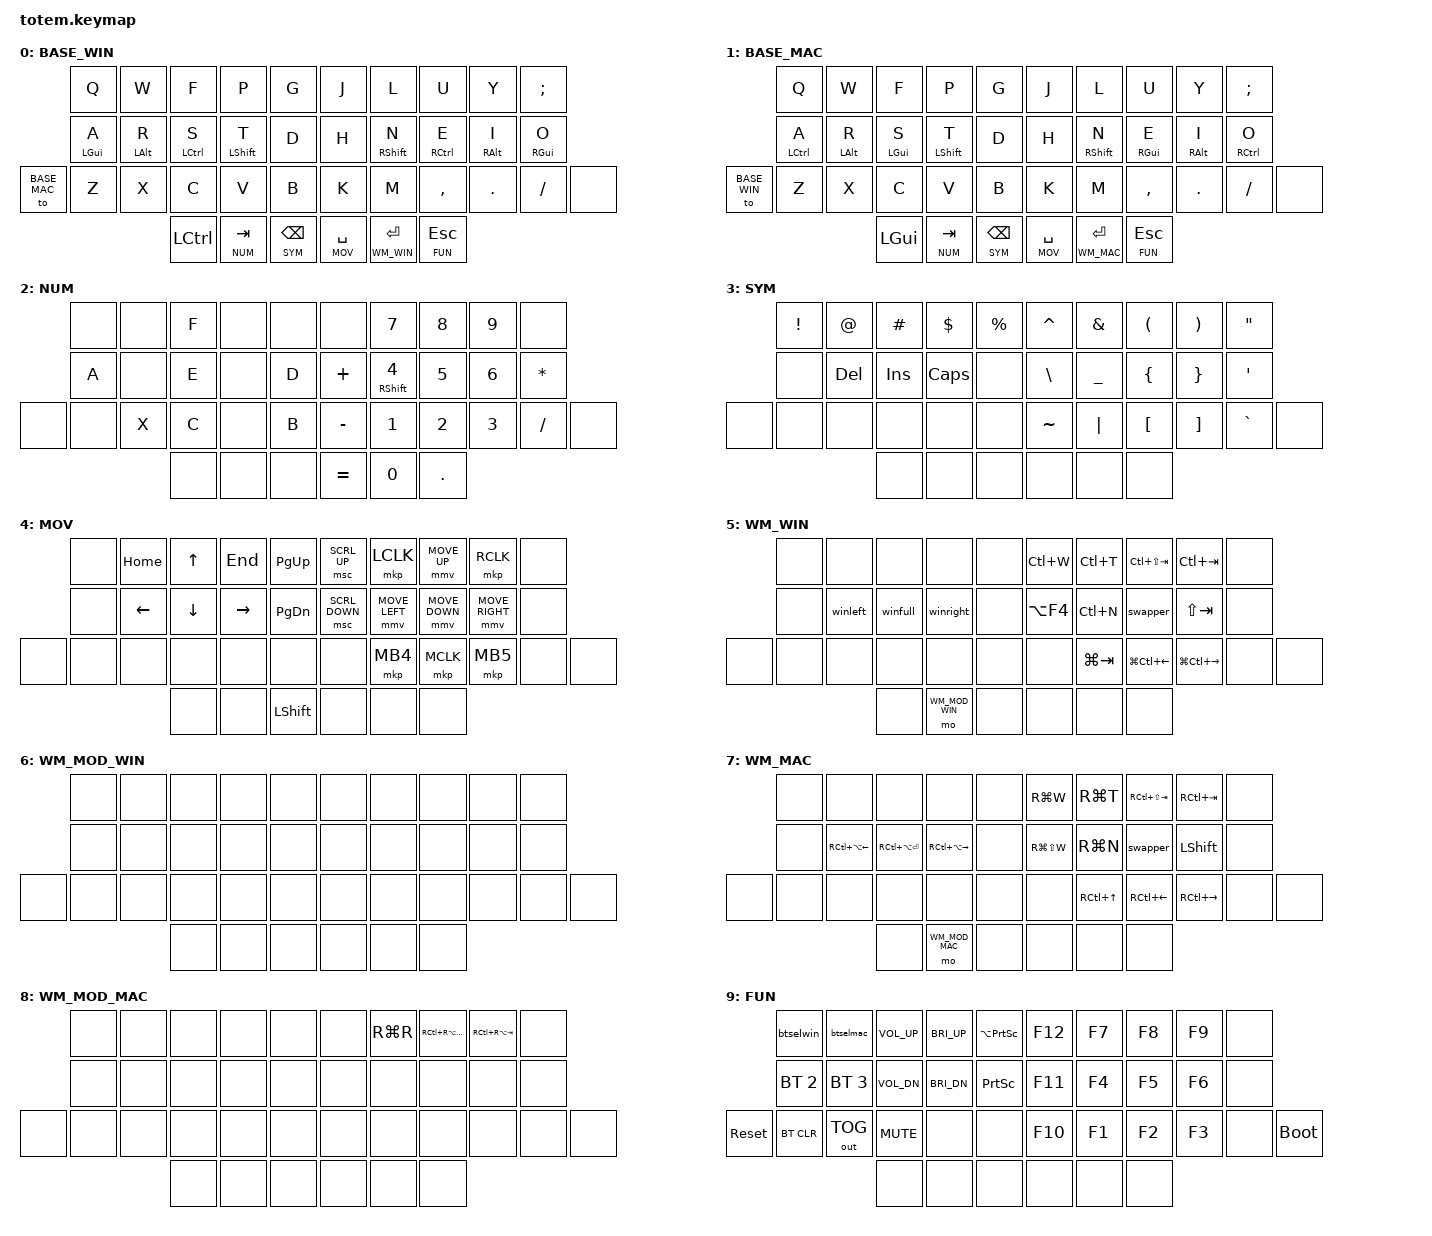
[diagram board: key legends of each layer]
//
//                                                        ▀▀▀▀▀     ▀▀▀▀▀          ▀▀█▀▀
//                                                        ▄▀▀▀▄  ▄  ▄▀▀▀▄  ▄  ▄▀▀▀▄  █  ▄▀▀▀▄
//                                                        █   █  █  █   █  █  █   █  █  █   █
//                                                         ▀▀▀   █   ▀▀▀   █   ▀▀▀   ▀   ▀▀▀
//                                                               █      ▄▄▄█▄▄▄    █   █  
//                                                               ▀      █  █  █     █▄█
//                                                             ▀▀▀▀▀    █  █  █      ▀
//                                                                      ▀  ▀  ▀
//
// ▄▄▄▄▄▄▄▄▄▄▄▄▄▄▄▄▄▄▄▄▄▄▄▄▄▄▄▄▄▄▄▄▄▄▄▄▄▄▄▄▄▄▄▄▄▄▄▄▄▄▄▄▄▄▄▄▄▄▄▄▄▄▄▄▄▄▄▄▄▄▄▄▄▄▄▄▄▄▄▄▄▄▄▄▄▄▄▄▄▄▄▄▄▄▄▄▄▄▄▄▄▄▄▄▄▄▄▄▄▄▄▄▄▄▄▄▄▄▄▄▄▄▄▄▄▄▄▄▄▄▄▄▄▄▄▄▄▄▄▄▄▄▄▄▄▄▄▄▄
       

#define ZMK_POINTING_DEFAULT_MOVE_VAL 900
#define ZMK_POINTING_DEFAULT_SCRL_VAL 20

#include <behaviors.dtsi>
#include <dt-bindings/zmk/keys.h>
#include <dt-bindings/zmk/bt.h>
#include <dt-bindings/zmk/outputs.h>
#include <dt-bindings/zmk/pointing.h>

#define BASE_WIN    0
#define BASE_MAC    1
#define NUM         2
#define SYM         3
#define MOV         4
#define WM_WIN      5
#define WM_MOD_WIN  6
#define WM_MAC      7
#define WM_MOD_MAC  8
#define FUN         9

&lt {
  tapping-term-ms = <250>;
  quick-tap-ms = <200>;
};

&mt {
  tapping-term-ms = <250>;
  quick-tap-ms = <200>;
  global-quick-tap;
  flavor = "tap-preferred";
};

/ {
    combos {
        compatible = "zmk,combos";

        CapsWord {
            bindings = <&caps_word>;
            key-positions = <13 16>;
        };
    };

    behaviors {
        swapper: swapper {
            compatible = "zmk,behavior-tri-state";
            #binding-cells = <0>;
            bindings = <&kt LALT>, <&kp TAB>, <&kt LALT>;
            ignored-key-positions = <18>;
        };
    };

    macros {
        winleft: winleft {
            compatible = "zmk,behavior-macro";
            #binding-cells = <0>;
            bindings
                = <&macro_press &kp LGUI>
                , <&macro_tap &kp LEFT>
                , <&macro_tap &kp LEFT>
                , <&macro_release &kp LGUI>
                ;
        };

        winright: winright {
            compatible = "zmk,behavior-macro";
            #binding-cells = <0>;
            bindings
                = <&macro_press &kp LGUI>
                , <&macro_tap &kp RIGHT>
                , <&macro_tap &kp RIGHT>
                , <&macro_release &kp LGUI>
                ;
        };

        winfull: winfull {
            compatible = "zmk,behavior-macro";
            #binding-cells = <0>;
            bindings
                = <&macro_press &kp LGUI>
                , <&macro_tap &kp UP>
                , <&macro_tap &kp UP>
                , <&macro_release &kp LGUI>
                ;
        };

        btselwin: btselwin {
            compatible = "zmk,behavior-macro";
            #binding-cells = <0>;
            bindings
                = <&bt BT_SEL 0>
                , <&to BASE_WIN>
                ;
        };

        btselmac: btselmac {
            compatible = "zmk,behavior-macro";
            #binding-cells = <0>;
            bindings
                = <&bt BT_SEL 1>
                , <&to BASE_MAC>
                ;
        };
    };

        keymap {
                compatible = "zmk,keymap";
// ▄▄▄▄▄▄▄▄▄▄▄▄▄▄▄▄▄▄▄▄▄▄▄▄▄▄▄▄▄▄▄▄▄▄▄▄▄▄▄▄▄▄▄▄▄▄▄▄▄▄▄▄▄▄▄▄▄▄▄▄▄▄▄▄▄▄▄▄▄▄▄▄▄▄▄▄▄▄▄▄▄▄▄▄▄▄▄▄▄▄▄▄▄▄▄▄▄▄▄▄▄▄▄▄▄▄▄▄▄▄▄▄▄▄▄▄▄▄▄▄▄▄▄▄▄▄▄▄▄▄▄▄▄▄▄▄▄▄▄▄▄▄▄▄▄▄▄▄▄

                base_win_layer {
// ┏━━━━━━━━━━━━━━━━━━━━━━━━━━━━━━━━━━━━━━━┓
label= "BASE_WIN"                          ;
// ┗━━━━━━━━━━━━━━━━━━━━━━━━━━━━━━━━━━━━━━━┛
//             ┏━━━━━━━━━━━┳━━━━━━━━━━━┳━━━━━━━━━━━┳━━━━━━━━━━━┳━━━━━━━━━━━┓   ┏━━━━━━━━━━━┳━━━━━━━━━━━┳━━━━━━━━━━━┳━━━━━━━━━━━┳━━━━━━━━━━━┓
//             ┃     Q     ┃     W     ┃     F     ┃     P     ┃     G     ┃   ┃     J     ┃     L     ┃     U     ┃     Y     ┃     ;     ┃
//             ┣━━━━━━━━━━━╋━━━━━━━━━━━╋━━━━━━━━━━━╋━━━━━━━━━━━╋━━━━━━━━━━━┫   ┣━━━━━━━━━━━╋━━━━━━━━━━━╋━━━━━━━━━━━╋━━━━━━━━━━━╋━━━━━━━━━━━┫
//             ┃  A/LGUI   ┃  R/LALT   ┃  S/LCTRL  ┃ T/LSHIFT  ┃     D     ┃   ┃     H     ┃ N/RSHIFT  ┃  E/RCTRL  ┃  I/RALT   ┃  O/RGUI   ┃
// ┏━━━━━━━━━━━╋━━━━━━━━━━━╋━━━━━━━━━━━╋━━━━━━━━━━━╋━━━━━━━━━━━╋━━━━━━━━━━━┫   ┣━━━━━━━━━━━╋━━━━━━━━━━━╋━━━━━━━━━━━╋━━━━━━━━━━━╋━━━━━━━━━━━╋━━━━━━━━━━━┓
// ┃ BASE_MAC  ┃     Z     ┃     X     ┃     C     ┃     V     ┃     B     ┃   ┃     K     ┃     M     ┃     ,     ┃     .     ┃     /     ┃           ┃
// ┗━━━━━━━━━━━┻━━━━━━━━━━━┻━━━━━━━━━━━╋━━━━━━━━━━━╋━━━━━━━━━━━╋━━━━━━━━━━━┫   ┣━━━━━━━━━━━╋━━━━━━━━━━━╋━━━━━━━━━━━╋━━━━━━━━━━━┻━━━━━━━━━━━┻━━━━━━━━━━━┛
//                                     ┃   LCTRL   ┃  TAB/NUM  ┃ BSPC/SYM  ┃   ┃  SPC/MOV  ┃ RET/WM_WIN┃  ESC/FUN  ┃
//                                     ┗━━━━━━━━━━━┻━━━━━━━━━━━┻━━━━━━━━━━━┛   ┗━━━━━━━━━━━┻━━━━━━━━━━━┻━━━━━━━━━━━┛
 bindings = <
// ╷            ╷           ╷           ╷           ╷           ╷           ╷   ╷             ╷              ╷           ╷           ╷           ╷           ╷

                 &kp Q       &kp W       &kp F       &kp P       &kp G           &kp J         &kp L          &kp U       &kp Y       &kp SEMI
                 &mt LGUI A  &mt LALT R  &mt LCTRL S &mt LSHFT T &kp D           &kp H         &mt RSHFT N    &mt RCTRL E &mt RALT I  &mt RGUI O
    &to BASE_MAC &kp Z       &kp X       &kp C       &kp V       &kp B           &kp K         &kp M          &kp COMMA   &kp DOT     &kp FSLH    &none
                                         &kp LCTRL   &lt NUM TAB &lt SYM BSPC    &lt MOV SPACE &lt WM_WIN RET &lt FUN ESC
                        >;
                };

// ▄▄▄▄▄▄▄▄▄▄▄▄▄▄▄▄▄▄▄▄▄▄▄▄▄▄▄▄▄▄▄▄▄▄▄▄▄▄▄▄▄▄▄▄▄▄▄▄▄▄▄▄▄▄▄▄▄▄▄▄▄▄▄▄▄▄▄▄▄▄▄▄▄▄▄▄▄▄▄▄▄▄▄▄▄▄▄▄▄▄▄▄▄▄▄▄▄▄▄▄▄▄▄▄▄▄▄▄▄▄▄▄▄▄▄▄▄▄▄▄▄▄▄▄▄▄▄▄▄▄▄▄▄▄▄▄▄▄▄▄▄▄▄▄▄▄▄▄▄

                base_mac_layer {
// ┏━━━━━━━━━━━━━━━━━━━━━━━━━━━━━━━━━━━━━━━┓
label= "BASE_MAC"                          ;
// ┗━━━━━━━━━━━━━━━━━━━━━━━━━━━━━━━━━━━━━━━┛
//             ┏━━━━━━━━━━━┳━━━━━━━━━━━┳━━━━━━━━━━━┳━━━━━━━━━━━┳━━━━━━━━━━━┓   ┏━━━━━━━━━━━┳━━━━━━━━━━━┳━━━━━━━━━━━┳━━━━━━━━━━━┳━━━━━━━━━━━┓
//             ┃     Q     ┃     W     ┃     F     ┃     P     ┃     G     ┃   ┃     J     ┃     L     ┃     U     ┃     Y     ┃     ;     ┃
//             ┣━━━━━━━━━━━╋━━━━━━━━━━━╋━━━━━━━━━━━╋━━━━━━━━━━━╋━━━━━━━━━━━┫   ┣━━━━━━━━━━━╋━━━━━━━━━━━╋━━━━━━━━━━━╋━━━━━━━━━━━╋━━━━━━━━━━━┫
//             ┃  A/LCTRL  ┃  R/LALT   ┃   S/LGUI  ┃ T/LSHIFT  ┃     D     ┃   ┃     H     ┃ N/RSHIFT  ┃   E/RGUI  ┃  I/RALT   ┃  O/RCTRL  ┃
// ┏━━━━━━━━━━━╋━━━━━━━━━━━╋━━━━━━━━━━━╋━━━━━━━━━━━╋━━━━━━━━━━━╋━━━━━━━━━━━┫   ┣━━━━━━━━━━━╋━━━━━━━━━━━╋━━━━━━━━━━━╋━━━━━━━━━━━╋━━━━━━━━━━━╋━━━━━━━━━━━┓
// ┃ BASE_WIN  ┃     Z     ┃     X     ┃     C     ┃     V     ┃     B     ┃   ┃     K     ┃     M     ┃     ,     ┃     .     ┃     /     ┃           ┃
// ┗━━━━━━━━━━━┻━━━━━━━━━━━┻━━━━━━━━━━━╋━━━━━━━━━━━╋━━━━━━━━━━━╋━━━━━━━━━━━┫   ┣━━━━━━━━━━━╋━━━━━━━━━━━╋━━━━━━━━━━━╋━━━━━━━━━━━┻━━━━━━━━━━━┻━━━━━━━━━━━┛
//                                     ┃   LGUI    ┃  TAB/NUM  ┃ BSPC/SYM  ┃   ┃  SPC/MOV  ┃ RET/WM_MAC┃  ESC/FUN  ┃
//                                     ┗━━━━━━━━━━━┻━━━━━━━━━━━┻━━━━━━━━━━━┛   ┗━━━━━━━━━━━┻━━━━━━━━━━━┻━━━━━━━━━━━┛
 bindings = <
// ╷            ╷           ╷           ╷           ╷           ╷           ╷   ╷             ╷              ╷           ╷           ╷           ╷           ╷

                 &kp Q       &kp W       &kp F       &kp P       &kp G           &kp J         &kp L          &kp U       &kp Y       &kp SEMI
                 &mt LCTRL A &mt LALT R  &mt LGUI S  &mt LSHFT T &kp D           &kp H         &mt RSHFT N    &mt RGUI E  &mt RALT I  &mt RCTRL O
    &to BASE_WIN &kp Z       &kp X       &kp C       &kp V       &kp B           &kp K         &kp M          &kp COMMA   &kp DOT     &kp FSLH    &none
                                         &kp LGUI    &lt NUM TAB &lt SYM BSPC    &lt MOV SPACE &lt WM_MAC RET &lt FUN ESC
                        >;
                };

// ▄▄▄▄▄▄▄▄▄▄▄▄▄▄▄▄▄▄▄▄▄▄▄▄▄▄▄▄▄▄▄▄▄▄▄▄▄▄▄▄▄▄▄▄▄▄▄▄▄▄▄▄▄▄▄▄▄▄▄▄▄▄▄▄▄▄▄▄▄▄▄▄▄▄▄▄▄▄▄▄▄▄▄▄▄▄▄▄▄▄▄▄▄▄▄▄▄▄▄▄▄▄▄▄▄▄▄▄▄▄▄▄▄▄▄▄▄▄▄▄▄▄▄▄▄▄▄▄▄▄▄▄▄▄▄▄▄▄▄▄▄▄▄▄▄▄▄▄▄


                number_layer {
// ┏━━━━━━━━━━━━━━━━━━━━━━━━━━━━━━━━━━━━━━━┓
label= "NUM"                               ;
// ┗━━━━━━━━━━━━━━━━━━━━━━━━━━━━━━━━━━━━━━━┛
//             ┏━━━━━━━━━━━┳━━━━━━━━━━━┳━━━━━━━━━━━┳━━━━━━━━━━━┳━━━━━━━━━━━┓   ┏━━━━━━━━━━━┳━━━━━━━━━━━┳━━━━━━━━━━━┳━━━━━━━━━━━┳━━━━━━━━━━━┓
//             ┃           ┃           ┃     F     ┃           ┃           ┃   ┃           ┃     7     ┃     8     ┃     9     ┃           ┃
//             ┣━━━━━━━━━━━╋━━━━━━━━━━━╋━━━━━━━━━━━╋━━━━━━━━━━━╋━━━━━━━━━━━┫   ┣━━━━━━━━━━━╋━━━━━━━━━━━╋━━━━━━━━━━━╋━━━━━━━━━━━╋━━━━━━━━━━━┫
//             ┃     A     ┃           ┃     E     ┃           ┃     D     ┃   ┃     +     ┃ 4/RSHIFT  ┃     5     ┃     6     ┃     *     ┃
// ┏━━━━━━━━━━━╋━━━━━━━━━━━╋━━━━━━━━━━━╋━━━━━━━━━━━╋━━━━━━━━━━━╋━━━━━━━━━━━┫   ┣━━━━━━━━━━━╋━━━━━━━━━━━╋━━━━━━━━━━━╋━━━━━━━━━━━╋━━━━━━━━━━━╋━━━━━━━━━━━┓
// ┃           ┃           ┃     X     ┃     C     ┃           ┃     B     ┃   ┃     -     ┃     1     ┃     2     ┃     3     ┃     /     ┃           ┃
// ┗━━━━━━━━━━━┻━━━━━━━━━━━┻━━━━━━━━━━━╋━━━━━━━━━━━╋━━━━━━━━━━━╋━━━━━━━━━━━┫   ┣━━━━━━━━━━━╋━━━━━━━━━━━╋━━━━━━━━━━━╋━━━━━━━━━━━┻━━━━━━━━━━━┻━━━━━━━━━━━┛
//                                     ┃           ┃           ┃           ┃   ┃     =     ┃     0     ┃     .     ┃
//                                     ┗━━━━━━━━━━━┻━━━━━━━━━━━┻━━━━━━━━━━━┛   ┗━━━━━━━━━━━┻━━━━━━━━━━━┻━━━━━━━━━━━┛
 bindings = <
// ╷           ╷           ╷           ╷           ╷           ╷           ╷   ╷           ╷            ╷           ╷           ╷           ╷           ╷

                &none       &none       &kp F       &none       &none           &none       &kp N7       &kp N8      &kp N9      &none
                &kp A       &none       &kp E       &none       &kp D           &kp PLUS    &mt RSHFT N4 &kp N5      &kp N6      &kp ASTRK
    &none       &none       &kp X       &kp C       &none       &kp B           &kp MINUS   &kp N1       &kp N2      &kp N3      &kp FSLH    &none 
                                        &none       &none       &none           &kp EQUAL   &kp N0       &kp DOT
                        >;
                };

// ▄▄▄▄▄▄▄▄▄▄▄▄▄▄▄▄▄▄▄▄▄▄▄▄▄▄▄▄▄▄▄▄▄▄▄▄▄▄▄▄▄▄▄▄▄▄▄▄▄▄▄▄▄▄▄▄▄▄▄▄▄▄▄▄▄▄▄▄▄▄▄▄▄▄▄▄▄▄▄▄▄▄▄▄▄▄▄▄▄▄▄▄▄▄▄▄▄▄▄▄▄▄▄▄▄▄▄▄▄▄▄▄▄▄▄▄▄▄▄▄▄▄▄▄▄▄▄▄▄▄▄▄▄▄▄▄▄▄▄▄▄▄▄▄▄▄▄▄▄


                symbol_layer {
// ┏━━━━━━━━━━━━━━━━━━━━━━━━━━━━━━━━━━━━━━━┓
label= "SYM"                               ;
// ┗━━━━━━━━━━━━━━━━━━━━━━━━━━━━━━━━━━━━━━━┛
//             ┏━━━━━━━━━━━┳━━━━━━━━━━━┳━━━━━━━━━━━┳━━━━━━━━━━━┳━━━━━━━━━━━┓   ┏━━━━━━━━━━━┳━━━━━━━━━━━┳━━━━━━━━━━━┳━━━━━━━━━━━┳━━━━━━━━━━━┓
//             ┃     !     ┃     @     ┃     #     ┃     $     ┃     %     ┃   ┃     ^     ┃     &     ┃     (     ┃     )     ┃     "     ┃
//             ┣━━━━━━━━━━━╋━━━━━━━━━━━╋━━━━━━━━━━━╋━━━━━━━━━━━╋━━━━━━━━━━━┫   ┣━━━━━━━━━━━╋━━━━━━━━━━━╋━━━━━━━━━━━╋━━━━━━━━━━━╋━━━━━━━━━━━┫
//             ┃           ┃    DEL    ┃    INS    ┃ CAPS LOCK ┃           ┃   ┃     \     ┃     _     ┃     {     ┃     }     ┃     '     ┃
// ┏━━━━━━━━━━━╋━━━━━━━━━━━╋━━━━━━━━━━━╋━━━━━━━━━━━╋━━━━━━━━━━━╋━━━━━━━━━━━┫   ┣━━━━━━━━━━━╋━━━━━━━━━━━╋━━━━━━━━━━━╋━━━━━━━━━━━╋━━━━━━━━━━━╋━━━━━━━━━━━┓
// ┃           ┃           ┃           ┃           ┃           ┃           ┃   ┃     ~     ┃     |     ┃     [     ┃     ]     ┃     `     ┃           ┃
// ┗━━━━━━━━━━━┻━━━━━━━━━━━┻━━━━━━━━━━━╋━━━━━━━━━━━╋━━━━━━━━━━━╋━━━━━━━━━━━┫   ┣━━━━━━━━━━━╋━━━━━━━━━━━╋━━━━━━━━━━━╋━━━━━━━━━━━┻━━━━━━━━━━━┻━━━━━━━━━━━┛
//                                     ┃           ┃           ┃           ┃   ┃           ┃           ┃           ┃
//                                     ┗━━━━━━━━━━━┻━━━━━━━━━━━┻━━━━━━━━━━━┛   ┗━━━━━━━━━━━┻━━━━━━━━━━━┻━━━━━━━━━━━┛
 bindings = <
// ╷           ╷           ╷           ╷           ╷           ╷           ╷   ╷           ╷           ╷           ╷           ╷           ╷           ╷

                &kp EXCL    &kp AT      &kp HASH    &kp DLLR    &kp PRCNT       &kp CARET   &kp AMPS    &kp LPAR    &kp RPAR    &kp DQT       
                &none       &kp DEL     &kp INS     &kp CAPS    &none           &kp BSLH    &kp UNDER   &kp LBRC    &kp RBRC    &kp APOS 
    &none       &none       &none       &none       &none       &none           &kp TILDE   &kp PIPE    &kp LBKT    &kp RBKT    &kp GRAVE   &none          
                                        &none       &none       &none           &none       &none       &none
                        >;
                };

// ▄▄▄▄▄▄▄▄▄▄▄▄▄▄▄▄▄▄▄▄▄▄▄▄▄▄▄▄▄▄▄▄▄▄▄▄▄▄▄▄▄▄▄▄▄▄▄▄▄▄▄▄▄▄▄▄▄▄▄▄▄▄▄▄▄▄▄▄▄▄▄▄▄▄▄▄▄▄▄▄▄▄▄▄▄▄▄▄▄▄▄▄▄▄▄▄▄▄▄▄▄▄▄▄▄▄▄▄▄▄▄▄▄▄▄▄▄▄▄▄▄▄▄▄▄▄▄▄▄▄▄▄▄▄▄▄▄▄▄▄▄▄▄▄▄▄▄▄▄


                move_layer {
// ┏━━━━━━━━━━━━━━━━━━━━━━━━━━━━━━━━━━━━━━━┓
label= "MOV"                               ;
// ┗━━━━━━━━━━━━━━━━━━━━━━━━━━━━━━━━━━━━━━━┛
//             ┏━━━━━━━━━━━┳━━━━━━━━━━━┳━━━━━━━━━━━┳━━━━━━━━━━━┳━━━━━━━━━━━┓   ┏━━━━━━━━━━━┳━━━━━━━━━━━┳━━━━━━━━━━━┳━━━━━━━━━━━┳━━━━━━━━━━━┓
//             ┃           ┃   HOME    ┃    UP     ┃    END    ┃  P UP     ┃   ┃ SCRL_UP   ┃   LCLK    ┃   MUP     ┃  RCLK     ┃           ┃
//             ┣━━━━━━━━━━━╋━━━━━━━━━━━╋━━━━━━━━━━━╋━━━━━━━━━━━╋━━━━━━━━━━━┫   ┣━━━━━━━━━━━╋━━━━━━━━━━━╋━━━━━━━━━━━╋━━━━━━━━━━━╋━━━━━━━━━━━┫
//             ┃           ┃   LEFT    ┃   DOWN    ┃   RIGHT   ┃  P DOWN   ┃   ┃ SRCL_DOWN ┃   MLEFT   ┃   MDOWN   ┃  MRIGHT   ┃           ┃
// ┏━━━━━━━━━━━╋━━━━━━━━━━━╋━━━━━━━━━━━╋━━━━━━━━━━━╋━━━━━━━━━━━╋━━━━━━━━━━━┫   ┣━━━━━━━━━━━╋━━━━━━━━━━━╋━━━━━━━━━━━╋━━━━━━━━━━━╋━━━━━━━━━━━╋━━━━━━━━━━━┓
// ┃           ┃           ┃           ┃           ┃           ┃           ┃   ┃           ┃   MB4     ┃   MCLK    ┃  MB5      ┃           ┃           ┃
// ┗━━━━━━━━━━━┻━━━━━━━━━━━┻━━━━━━━━━━━╋━━━━━━━━━━━╋━━━━━━━━━━━╋━━━━━━━━━━━┫   ┣━━━━━━━━━━━╋━━━━━━━━━━━╋━━━━━━━━━━━╋━━━━━━━━━━━┻━━━━━━━━━━━┻━━━━━━━━━━━┛
//                                     ┃           ┃           ┃  LSHIFT   ┃   ┃           ┃           ┃           ┃
//                                     ┗━━━━━━━━━━━┻━━━━━━━━━━━┻━━━━━━━━━━━┛   ┗━━━━━━━━━━━┻━━━━━━━━━━━┻━━━━━━━━━━━┛
 bindings = <
// ╷           ╷           ╷           ╷           ╷           ╷           ╷   ╷              ╷              ╷              ╷               ╷           ╷           ╷

                &none       &kp HOME    &kp UP      &kp END     &kp PG_UP       &msc SCRL_UP   &mkp LCLK      &mmv MOVE_UP   &mkp RCLK       &none
                &none       &kp LEFT    &kp DOWN    &kp RIGHT   &kp PG_DN       &msc SCRL_DOWN &mmv MOVE_LEFT &mmv MOVE_DOWN &mmv MOVE_RIGHT &none
    &none       &none       &none       &none       &none       &none           &none          &mkp MB4       &mkp MCLK      &mkp MB5        &none       &none
                                        &none       &none       &kp LSHFT       &none          &none          &none
                        >;
                };
     
// ▄▄▄▄▄▄▄▄▄▄▄▄▄▄▄▄▄▄▄▄▄▄▄▄▄▄▄▄▄▄▄▄▄▄▄▄▄▄▄▄▄▄▄▄▄▄▄▄▄▄▄▄▄▄▄▄▄▄▄▄▄▄▄▄▄▄▄▄▄▄▄▄▄▄▄▄▄▄▄▄▄▄▄▄▄▄▄▄▄▄▄▄▄▄▄▄▄▄▄▄▄▄▄▄▄▄▄▄▄▄▄▄▄▄▄▄▄▄▄▄▄▄▄▄▄▄▄▄▄▄▄▄▄▄▄▄▄▄▄▄▄▄▄▄▄▄▄▄▄


                wm_win_layer {
// ┏━━━━━━━━━━━━━━━━━━━━━━━━━━━━━━━━━━━━━━━┓
label= "WM_WIN"                            ;
// ┗━━━━━━━━━━━━━━━━━━━━━━━━━━━━━━━━━━━━━━━┛
//             ┏━━━━━━━━━━━┳━━━━━━━━━━━┳━━━━━━━━━━━┳━━━━━━━━━━━┳━━━━━━━━━━━┓   ┏━━━━━━━━━━━┳━━━━━━━━━━━┳━━━━━━━━━━━┳━━━━━━━━━━━┳━━━━━━━━━━━┓
//             ┃           ┃           ┃           ┃           ┃           ┃   ┃ EXIT TAB  ┃ NEW TAB   ┃ PREV TAB  ┃ NEXT TAB  ┃           ┃
//             ┣━━━━━━━━━━━╋━━━━━━━━━━━╋━━━━━━━━━━━╋━━━━━━━━━━━╋━━━━━━━━━━━┫   ┣━━━━━━━━━━━╋━━━━━━━━━━━╋━━━━━━━━━━━╋━━━━━━━━━━━╋━━━━━━━━━━━┫
//             ┃           ┃ LEFT SCRN ┃ FULL SCRN ┃ RGHT SCRN ┃           ┃   ┃ EXIT WIN  ┃ NEW WIN   ┃ SWAP WIN  ┃ SWAP WIN  ┃           ┃
// ┏━━━━━━━━━━━╋━━━━━━━━━━━╋━━━━━━━━━━━╋━━━━━━━━━━━╋━━━━━━━━━━━╋━━━━━━━━━━━┫   ┣━━━━━━━━━━━╋━━━━━━━━━━━╋━━━━━━━━━━━╋━━━━━━━━━━━╋━━━━━━━━━━━╋━━━━━━━━━━━┓
// ┃           ┃           ┃           ┃           ┃           ┃           ┃   ┃           ┃ DESK OVW  ┃ PREV DESK ┃ NEXT DESK ┃           ┃           ┃
// ┗━━━━━━━━━━━┻━━━━━━━━━━━┻━━━━━━━━━━━╋━━━━━━━━━━━╋━━━━━━━━━━━╋━━━━━━━━━━━┫   ┣━━━━━━━━━━━╋━━━━━━━━━━━╋━━━━━━━━━━━╋━━━━━━━━━━━┻━━━━━━━━━━━┻━━━━━━━━━━━┛
//                                     ┃           ┃ WM_MOD_WIN┃           ┃   ┃           ┃           ┃           ┃
//                                     ┗━━━━━━━━━━━┻━━━━━━━━━━━┻━━━━━━━━━━━┛   ┗━━━━━━━━━━━┻━━━━━━━━━━━┻━━━━━━━━━━━┛
 bindings = <
// ╷           ╷           ╷           ╷           ╷              ╷           ╷   ╷           ╷           ╷                ╷                 ╷           ╷           ╷

                &none       &none       &none       &none          &none           &kp LC(W)   &kp LC(T)   &kp LC(LS(TAB))  &kp LC(TAB)       &none
                &none       &winleft    &winfull    &winright      &none           &kp LA(F4)  &kp LC(N)   &swapper         &kp LS(TAB)       &none
    &none       &none       &none       &none       &none          &none           &none       &kp LG(TAB) &kp LG(LC(LEFT)) &kp LG(LC(RIGHT)) &none       &none
                                        &none       &mo WM_MOD_WIN &none           &none       &none       &none
                        >;
                };
     
// ▄▄▄▄▄▄▄▄▄▄▄▄▄▄▄▄▄▄▄▄▄▄▄▄▄▄▄▄▄▄▄▄▄▄▄▄▄▄▄▄▄▄▄▄▄▄▄▄▄▄▄▄▄▄▄▄▄▄▄▄▄▄▄▄▄▄▄▄▄▄▄▄▄▄▄▄▄▄▄▄▄▄▄▄▄▄▄▄▄▄▄▄▄▄▄▄▄▄▄▄▄▄▄▄▄▄▄▄▄▄▄▄▄▄▄▄▄▄▄▄▄▄▄▄▄▄▄▄▄▄▄▄▄▄▄▄▄▄▄▄▄▄▄▄▄▄▄▄▄


                wm_mod_win_layer {
// ┏━━━━━━━━━━━━━━━━━━━━━━━━━━━━━━━━━━━━━━━┓
label= "WM_MOD_WIN"                        ;
// ┗━━━━━━━━━━━━━━━━━━━━━━━━━━━━━━━━━━━━━━━┛
//             ┏━━━━━━━━━━━┳━━━━━━━━━━━┳━━━━━━━━━━━┳━━━━━━━━━━━┳━━━━━━━━━━━┓   ┏━━━━━━━━━━━┳━━━━━━━━━━━┳━━━━━━━━━━━┳━━━━━━━━━━━┳━━━━━━━━━━━┓
//             ┃           ┃           ┃           ┃           ┃           ┃   ┃           ┃           ┃           ┃           ┃           ┃
//             ┣━━━━━━━━━━━╋━━━━━━━━━━━╋━━━━━━━━━━━╋━━━━━━━━━━━╋━━━━━━━━━━━┫   ┣━━━━━━━━━━━╋━━━━━━━━━━━╋━━━━━━━━━━━╋━━━━━━━━━━━╋━━━━━━━━━━━┫
//             ┃           ┃           ┃           ┃           ┃           ┃   ┃           ┃           ┃           ┃           ┃           ┃
// ┏━━━━━━━━━━━╋━━━━━━━━━━━╋━━━━━━━━━━━╋━━━━━━━━━━━╋━━━━━━━━━━━╋━━━━━━━━━━━┫   ┣━━━━━━━━━━━╋━━━━━━━━━━━╋━━━━━━━━━━━╋━━━━━━━━━━━╋━━━━━━━━━━━╋━━━━━━━━━━━┓
// ┃           ┃           ┃           ┃           ┃           ┃           ┃   ┃           ┃           ┃           ┃           ┃           ┃           ┃
// ┗━━━━━━━━━━━┻━━━━━━━━━━━┻━━━━━━━━━━━╋━━━━━━━━━━━╋━━━━━━━━━━━╋━━━━━━━━━━━┫   ┣━━━━━━━━━━━╋━━━━━━━━━━━╋━━━━━━━━━━━╋━━━━━━━━━━━┻━━━━━━━━━━━┻━━━━━━━━━━━┛
//                                     ┃           ┃           ┃           ┃   ┃           ┃           ┃           ┃
//                                     ┗━━━━━━━━━━━┻━━━━━━━━━━━┻━━━━━━━━━━━┛   ┗━━━━━━━━━━━┻━━━━━━━━━━━┻━━━━━━━━━━━┛
 bindings = <
// ╷           ╷           ╷           ╷           ╷           ╷           ╷   ╷           ╷           ╷           ╷           ╷           ╷           ╷

                &none       &none       &none       &none       &none           &none       &none       &none       &none       &none
                &none       &none       &none       &none       &none           &none       &none       &none       &none       &none
    &none       &none       &none       &none       &none       &none           &none       &none       &none       &none       &none       &none
                                        &none       &none       &none           &none       &none       &none
                        >;
                };
     
// ▄▄▄▄▄▄▄▄▄▄▄▄▄▄▄▄▄▄▄▄▄▄▄▄▄▄▄▄▄▄▄▄▄▄▄▄▄▄▄▄▄▄▄▄▄▄▄▄▄▄▄▄▄▄▄▄▄▄▄▄▄▄▄▄▄▄▄▄▄▄▄▄▄▄▄▄▄▄▄▄▄▄▄▄▄▄▄▄▄▄▄▄▄▄▄▄▄▄▄▄▄▄▄▄▄▄▄▄▄▄▄▄▄▄▄▄▄▄▄▄▄▄▄▄▄▄▄▄▄▄▄▄▄▄▄▄▄▄▄▄▄▄▄▄▄▄▄▄▄


                wm_mac_layer {
// ┏━━━━━━━━━━━━━━━━━━━━━━━━━━━━━━━━━━━━━━━┓
label= "WM_MAC"                            ;
// ┗━━━━━━━━━━━━━━━━━━━━━━━━━━━━━━━━━━━━━━━┛
//             ┏━━━━━━━━━━━┳━━━━━━━━━━━┳━━━━━━━━━━━┳━━━━━━━━━━━┳━━━━━━━━━━━┓   ┏━━━━━━━━━━━┳━━━━━━━━━━━┳━━━━━━━━━━━┳━━━━━━━━━━━┳━━━━━━━━━━━┓
//             ┃           ┃           ┃           ┃           ┃           ┃   ┃ EXIT TAB  ┃ NEW TAB   ┃ PREV TAB  ┃ NEXT TAB  ┃           ┃
//             ┣━━━━━━━━━━━╋━━━━━━━━━━━╋━━━━━━━━━━━╋━━━━━━━━━━━╋━━━━━━━━━━━┫   ┣━━━━━━━━━━━╋━━━━━━━━━━━╋━━━━━━━━━━━╋━━━━━━━━━━━╋━━━━━━━━━━━┫
//             ┃           ┃ LEFT SCRN ┃ FULL SCRN ┃ RGHT SCRN ┃           ┃   ┃ EXIT WIN  ┃ NEW WIN   ┃ SWAP WIN  ┃ SWAP WIN  ┃           ┃
// ┏━━━━━━━━━━━╋━━━━━━━━━━━╋━━━━━━━━━━━╋━━━━━━━━━━━╋━━━━━━━━━━━╋━━━━━━━━━━━┫   ┣━━━━━━━━━━━╋━━━━━━━━━━━╋━━━━━━━━━━━╋━━━━━━━━━━━╋━━━━━━━━━━━╋━━━━━━━━━━━┓
// ┃           ┃           ┃           ┃           ┃           ┃           ┃   ┃           ┃ DESK OVW  ┃ PREV DESK ┃ NEXT DESK ┃           ┃           ┃
// ┗━━━━━━━━━━━┻━━━━━━━━━━━┻━━━━━━━━━━━╋━━━━━━━━━━━╋━━━━━━━━━━━╋━━━━━━━━━━━┫   ┣━━━━━━━━━━━╋━━━━━━━━━━━╋━━━━━━━━━━━╋━━━━━━━━━━━┻━━━━━━━━━━━┻━━━━━━━━━━━┛
//                                     ┃           ┃ WM_MOD_MAC┃           ┃   ┃           ┃           ┃           ┃
//                                     ┗━━━━━━━━━━━┻━━━━━━━━━━━┻━━━━━━━━━━━┛   ┗━━━━━━━━━━━┻━━━━━━━━━━━┻━━━━━━━━━━━┛
 bindings = <
// ╷           ╷           ╷                ╷               ╷                 ╷           ╷   ╷             ╷            ╷               ╷             ╷           ╷           ╷

                &none       &none            &none           &none             &none           &kp RG(W)     &kp RG(T)    &kp RC(LS(TAB)) &kp RC(TAB)   &none
                &none       &kp RC(LA(LEFT)) &kp RC(LA(RET)) &kp RC(LA(RIGHT)) &none           &kp RG(LS(W)) &kp RG(N)    &swapper        &kp LSHFT     &none
    &none       &none       &none            &none           &none             &none           &none         &kp RC(UP)   &kp RC(LEFT)    &kp RC(RIGHT) &none       &none
                                             &none           &mo WM_MOD_MAC    &none           &none         &none        &none
                        >;
                };
     
// ▄▄▄▄▄▄▄▄▄▄▄▄▄▄▄▄▄▄▄▄▄▄▄▄▄▄▄▄▄▄▄▄▄▄▄▄▄▄▄▄▄▄▄▄▄▄▄▄▄▄▄▄▄▄▄▄▄▄▄▄▄▄▄▄▄▄▄▄▄▄▄▄▄▄▄▄▄▄▄▄▄▄▄▄▄▄▄▄▄▄▄▄▄▄▄▄▄▄▄▄▄▄▄▄▄▄▄▄▄▄▄▄▄▄▄▄▄▄▄▄▄▄▄▄▄▄▄▄▄▄▄▄▄▄▄▄▄▄▄▄▄▄▄▄▄▄▄▄▄


                wm_mod_mac_layer {
// ┏━━━━━━━━━━━━━━━━━━━━━━━━━━━━━━━━━━━━━━━┓
label= "WM_MOD_MAC"                        ;
// ┗━━━━━━━━━━━━━━━━━━━━━━━━━━━━━━━━━━━━━━━┛
//             ┏━━━━━━━━━━━┳━━━━━━━━━━━┳━━━━━━━━━━━┳━━━━━━━━━━━┳━━━━━━━━━━━┓   ┏━━━━━━━━━━━┳━━━━━━━━━━━┳━━━━━━━━━━━┳━━━━━━━━━━━┳━━━━━━━━━━━┓
//             ┃           ┃           ┃           ┃           ┃           ┃   ┃           ┃ NAME TAB  ┃ MV TAB LT ┃ MV TAB RT ┃           ┃
//             ┣━━━━━━━━━━━╋━━━━━━━━━━━╋━━━━━━━━━━━╋━━━━━━━━━━━╋━━━━━━━━━━━┫   ┣━━━━━━━━━━━╋━━━━━━━━━━━╋━━━━━━━━━━━╋━━━━━━━━━━━╋━━━━━━━━━━━┫
//             ┃           ┃           ┃           ┃           ┃           ┃   ┃           ┃           ┃           ┃           ┃           ┃
// ┏━━━━━━━━━━━╋━━━━━━━━━━━╋━━━━━━━━━━━╋━━━━━━━━━━━╋━━━━━━━━━━━╋━━━━━━━━━━━┫   ┣━━━━━━━━━━━╋━━━━━━━━━━━╋━━━━━━━━━━━╋━━━━━━━━━━━╋━━━━━━━━━━━╋━━━━━━━━━━━┓
// ┃           ┃           ┃           ┃           ┃           ┃           ┃   ┃           ┃           ┃           ┃           ┃           ┃           ┃
// ┗━━━━━━━━━━━┻━━━━━━━━━━━┻━━━━━━━━━━━╋━━━━━━━━━━━╋━━━━━━━━━━━╋━━━━━━━━━━━┫   ┣━━━━━━━━━━━╋━━━━━━━━━━━╋━━━━━━━━━━━╋━━━━━━━━━━━┻━━━━━━━━━━━┻━━━━━━━━━━━┛
//                                     ┃           ┃           ┃           ┃   ┃           ┃           ┃           ┃
//                                     ┗━━━━━━━━━━━┻━━━━━━━━━━━┻━━━━━━━━━━━┛   ┗━━━━━━━━━━━┻━━━━━━━━━━━┻━━━━━━━━━━━┛
 bindings = <
// ╷           ╷           ╷           ╷           ╷           ╷           ╷   ╷           ╷           ╷                   ╷               ╷           ╷           ╷

                &none       &none       &none       &none       &none           &none       &kp RG(R)   &kp RC(RA(LS(TAB))) &kp RC(RA(TAB)) &none
                &none       &none       &none       &none       &none           &none       &none       &none               &none           &none
    &none       &none       &none       &none       &none       &none           &none       &none       &none               &none           &none       &none
                                        &none       &none       &none           &none       &none       &none
                        >;
                };
     
// ▄▄▄▄▄▄▄▄▄▄▄▄▄▄▄▄▄▄▄▄▄▄▄▄▄▄▄▄▄▄▄▄▄▄▄▄▄▄▄▄▄▄▄▄▄▄▄▄▄▄▄▄▄▄▄▄▄▄▄▄▄▄▄▄▄▄▄▄▄▄▄▄▄▄▄▄▄▄▄▄▄▄▄▄▄▄▄▄▄▄▄▄▄▄▄▄▄▄▄▄▄▄▄▄▄▄▄▄▄▄▄▄▄▄▄▄▄▄▄▄▄▄▄▄▄▄▄▄▄▄▄▄▄▄▄▄▄▄▄▄▄▄▄▄▄▄▄▄▄


                function_layer {
// ┏━━━━━━━━━━━━━━━━━━━━━━━━━━━━━━━━━━━━━━━┓
label= "FUN"                               ;
// ┗━━━━━━━━━━━━━━━━━━━━━━━━━━━━━━━━━━━━━━━┛
//             ┏━━━━━━━━━━━┳━━━━━━━━━━━┳━━━━━━━━━━━┳━━━━━━━━━━━┳━━━━━━━━━━━┓   ┏━━━━━━━━━━━┳━━━━━━━━━━━┳━━━━━━━━━━━┳━━━━━━━━━━━┳━━━━━━━━━━━┓
//             ┃ BTSELWIN  ┃ BTSELMAC  ┃ VOL UP    ┃ BRI UP    ┃ ALT+PSCRN ┃   ┃    F12    ┃    F7     ┃    F8     ┃    F9     ┃           ┃
//             ┣━━━━━━━━━━━╋━━━━━━━━━━━╋━━━━━━━━━━━╋━━━━━━━━━━━╋━━━━━━━━━━━┫   ┣━━━━━━━━━━━╋━━━━━━━━━━━╋━━━━━━━━━━━╋━━━━━━━━━━━╋━━━━━━━━━━━┫
//             ┃ BT_SEL 2  ┃ BT_SEL 3  ┃ VOL DOWN  ┃ BRI DOWN  ┃ PSCRN     ┃   ┃    F11    ┃    F4     ┃    F5     ┃    F6     ┃           ┃
// ┏━━━━━━━━━━━╋━━━━━━━━━━━╋━━━━━━━━━━━╋━━━━━━━━━━━╋━━━━━━━━━━━╋━━━━━━━━━━━┫   ┣━━━━━━━━━━━╋━━━━━━━━━━━╋━━━━━━━━━━━╋━━━━━━━━━━━╋━━━━━━━━━━━╋━━━━━━━━━━━┓
// ┃   RESET   ┃ BT_CLR    ┃ OUT_TOG   ┃ MUTE      ┃           ┃           ┃   ┃    F10    ┃    F1     ┃    F2     ┃    F3     ┃           ┃ BOOTLOAD  ┃
// ┗━━━━━━━━━━━┻━━━━━━━━━━━┻━━━━━━━━━━━╋━━━━━━━━━━━╋━━━━━━━━━━━╋━━━━━━━━━━━┫   ┣━━━━━━━━━━━╋━━━━━━━━━━━╋━━━━━━━━━━━╋━━━━━━━━━━━┻━━━━━━━━━━━┻━━━━━━━━━━━┛
//                                     ┃           ┃           ┃           ┃   ┃           ┃           ┃           ┃
//                                     ┗━━━━━━━━━━━┻━━━━━━━━━━━┻━━━━━━━━━━━┛   ┗━━━━━━━━━━━┻━━━━━━━━━━━┻━━━━━━━━━━━┛
 bindings = <
// ╷           ╷            ╷            ╷            ╷            ╷             ╷   ╷           ╷           ╷           ╷           ╷           ╷           ╷

                &btselwin    &btselmac    &kp C_VOL_UP &kp C_BRI_UP &kp LA(PSCRN)     &kp F12     &kp F7      &kp F8      &kp F9      &none
                &bt BT_SEL 2 &bt BT_SEL 3 &kp C_VOL_DN &kp C_BRI_DN &kp PSCRN         &kp F11     &kp F4      &kp F5      &kp F6      &none  
    &sys_reset  &bt BT_CLR   &out OUT_TOG &kp C_MUTE   &none        &none             &kp F10     &kp F1      &kp F2      &kp F3      &none       &bootloader
                                          &none        &none        &none             &none       &none       &none      
                        >;
                };
        };
};
